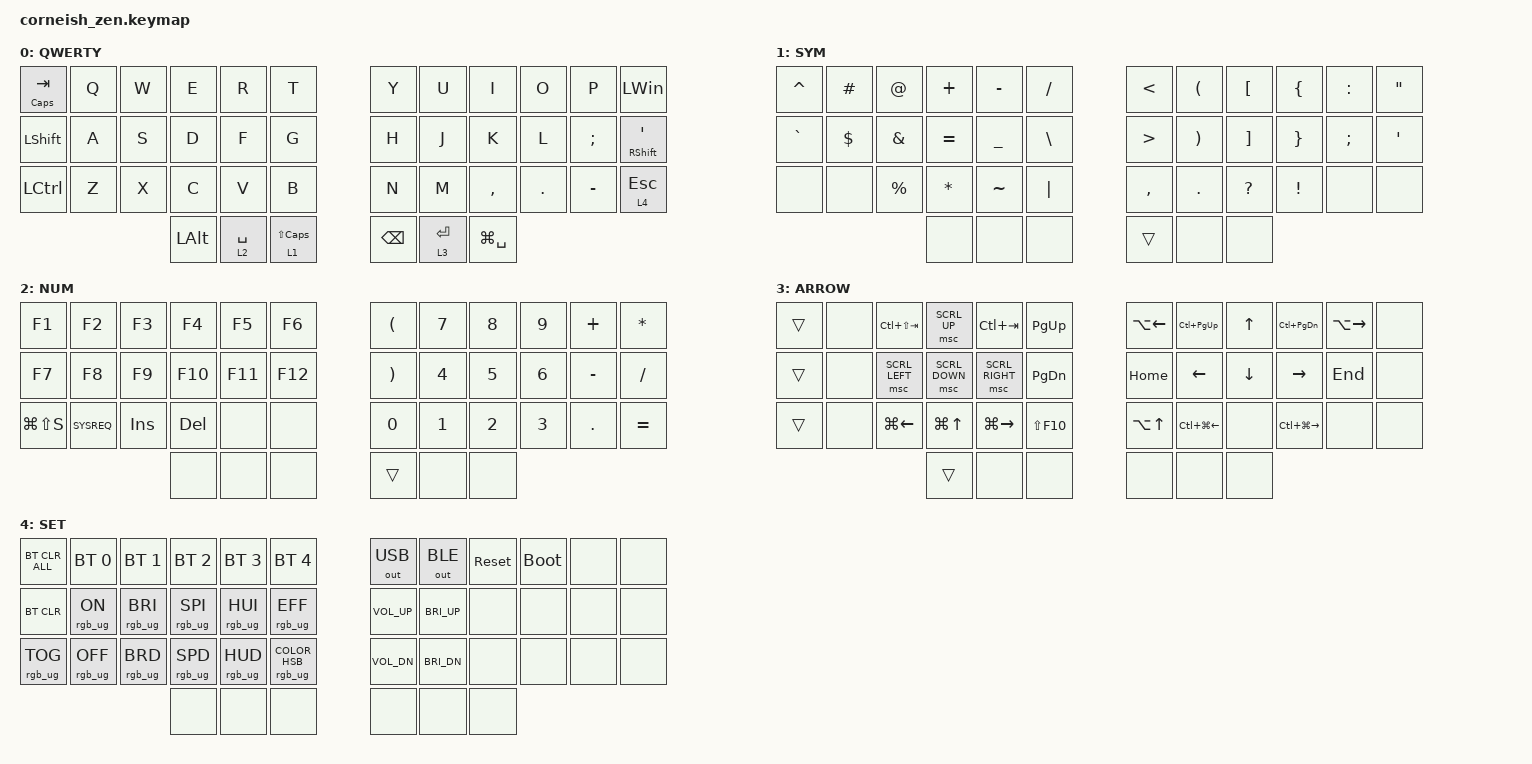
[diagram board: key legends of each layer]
/*
 * Copyright (c) 2020 The ZMK Contributors
 *
 * SPDX-License-Identifier: MIT
 */

#include <behaviors.dtsi>
#include <dt-bindings/zmk/bt.h>
#include <dt-bindings/zmk/keys.h>
#include <dt-bindings/zmk/outputs.h>
#include <dt-bindings/zmk/pointing.h>
#include <dt-bindings/zmk/rgb.h>

/ {
    chosen {
        zmk,matrix_transform = &default_transform;

        // zmk,matrix_transform = &five_column_transform;
    };
};

/ {
    behaviors {
        td0: td0 {
            compatible = "zmk,behavior-tap-dance";
            label = "TD0";
            #binding-cells = <0>;
            bindings = <&kp LEFT_SHIFT>, <&kp CAPS>;
        };
    };

    keymap {
        compatible = "zmk,keymap";

        default_layer {
            display-name = "QWERTY";

            // --------------------------------------------------------------------------------
            // |  TAB |  Q  |  W  |  E  |  R  |  T  |   |  Y  |  U   |  I  |  O  |  P  | BKSP |
            // | CTRL |  A  |  S  |  D  |  F  |  G  |   |  H  |  J   |  K  |  L  |  ;  |  '   | 
            // | SHFT |  Z  |  X  |  C  |  V  |  B  |   |  N  |  M   |  ,  |  .  |  /  | ESC  |
            //                    | GUI | LWR | SPC |   | ENT | RSE  | ALT |

            bindings = <
&mt CAPSLOCK TAB  &kp Q  &kp W  &kp E         &kp R        &kp T                 &kp Y          &kp U        &kp I          &kp O    &kp P      &kp LEFT_WIN
&kp LEFT_SHIFT    &kp A  &kp S  &kp D         &kp F        &kp G                 &kp H          &kp J        &kp K          &kp L    &kp SEMI   &mt RIGHT_SHIFT SQT
&kp LCTRL         &kp Z  &kp X  &kp C         &kp V        &kp B                 &kp N          &kp M        &kp COMMA      &kp DOT  &kp MINUS  &lt 4 ESC
                                &kp LEFT_ALT  &lt 2 SPACE  &lt 1 LS(CAPSLOCK)    &kp BACKSPACE  &lt 3 ENTER  &kp LG(SPACE)
            >;
        };

        layer_1 {
            display-name = "SYM";

            // -----------------------------------------------------------------------------------------
            // |  TAB |  !  |  @  |  #  |  $  |  %  |   |  ^  |  &  |  *  |  (  |  )  | BKSP |
            // | CTRL |     |     |     |     |     |   |  -  |  =  |  [  |  ]  |  \  |  `   |
            // | SHFT |     |     |     |     |     |   |  _  |  +  |  {  |  }  | "|" |  ~   |
            //                    | GUI |     | SPC |   | ENT |     | ALT |

            bindings = <
&kp CARET  &kp HASH    &kp AT     &kp PLUS   &kp MINUS  &kp SLASH        &kp LT     &kp LPAR  &kp LBKT   &kp LBRC  &kp COLON  &kp DQT
&kp GRAVE  &kp DOLLAR  &kp AMPS   &kp EQUAL  &kp UNDER  &kp BACKSLASH    &kp GT     &kp RPAR  &kp RBKT   &kp RBRC  &kp SEMI   &kp SQT
&none      &none       &kp PRCNT  &kp STAR   &kp TILDE  &kp PIPE         &kp COMMA  &kp DOT   &kp QMARK  &kp EXCL  &none      &none
                                  &none      &none      &none            &trans     &none     &none
            >;
        };

        layer_2 {
            display-name = "NUM";

            // -----------------------------------------------------------------------------------------
            // |  TAB |  1  |  2  |  3  |  4  |  5  |   |  6  |  7  |  8  |  9  |  0  | BKSP |
            // | BTCLR| BT1 | BT2 | BT3 | BT4 | BT5 |   | LFT | DWN |  UP | RGT |     |      |
            // | SHFT |     |     |     |     |     |   |     |     |     |     |     |      |
            //                    | GUI |     | SPC |   | ENT |     | ALT |

            bindings = <
&kp F1         &kp F2      &kp F3      &kp F4   &kp F5   &kp F6     &kp LPAR      &kp NUMBER_7  &kp NUMBER_8  &kp NUMBER_9  &kp PLUS   &kp STAR
&kp F7         &kp F8      &kp F9      &kp F10  &kp F11  &kp F12    &kp RPAR      &kp NUMBER_4  &kp NUMBER_5  &kp NUMBER_6  &kp MINUS  &kp SLASH
&kp LG(LS(S))  &kp SYSREQ  &kp INSERT  &kp DEL  &none    &none      &kp NUMBER_0  &kp NUMBER_1  &kp NUMBER_2  &kp NUMBER_3  &kp DOT    &kp EQUAL
                                       &none    &none    &none      &trans        &none         &none
            >;
        };

        layer_3 {
            display-name = "ARROW";
            bindings = <
&trans  &none  &kp LC(LS(TAB))  &msc SCRL_UP    &kp LC(TAB)      &kp PAGE_UP      &kp LA(LEFT)  &kp LC(PAGE_UP)   &kp UP    &kp LC(PAGE_DOWN)  &kp LA(RIGHT)  &none
&trans  &none  &msc SCRL_LEFT   &msc SCRL_DOWN  &msc SCRL_RIGHT  &kp PAGE_DOWN    &kp HOME      &kp LEFT          &kp DOWN  &kp RIGHT          &kp END        &none
&trans  &none  &kp LG(LEFT)     &kp LG(UP)      &kp LG(RIGHT)    &kp LS(F10)      &kp LA(UP)    &kp LC(LG(LEFT))  &none     &kp LC(LG(RIGHT))  &none          &none
                                &trans          &none            &none            &none         &none             &none
            >;
        };

        layer_4 {
            bindings = <
&bt BT_CLR_ALL   &bt BT_SEL 0     &bt BT_SEL 1     &bt BT_SEL 2     &bt BT_SEL 3     &bt BT_SEL 4                      &out OUT_USB  &out OUT_BLE  &sys_reset  &bootloader  &none  &none
&bt BT_CLR       &rgb_ug RGB_ON   &rgb_ug RGB_BRI  &rgb_ug RGB_SPI  &rgb_ug RGB_HUI  &rgb_ug RGB_EFF                   &kp C_VOL_UP  &kp C_BRI_UP  &none       &none        &none  &none
&rgb_ug RGB_TOG  &rgb_ug RGB_OFF  &rgb_ug RGB_BRD  &rgb_ug RGB_SPD  &rgb_ug RGB_HUD  &rgb_ug RGB_COLOR_HSB(0,0,100)    &kp C_VOL_DN  &kp C_BRI_DN  &none       &none        &none  &none
                                                   &none            &none            &none                             &none         &none         &none
            >;

            label = "SET";
        };
    };
};
